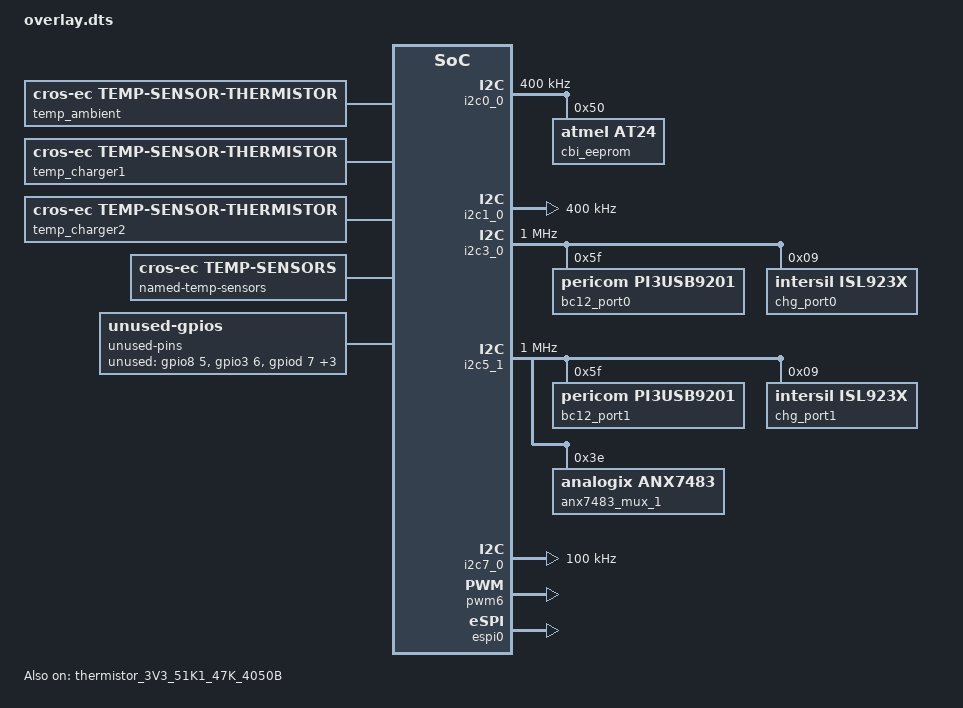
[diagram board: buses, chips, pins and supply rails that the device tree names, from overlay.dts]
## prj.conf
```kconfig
# Copyright 2022 The ChromiumOS Authors
# Use of this source code is governed by a BSD-style license that can be
# found in the LICENSE file.

CONFIG_BOARD_XIVU=y
CONFIG_PLATFORM_EC_OCPC=y
CONFIG_PLATFORM_EC_ACCELGYRO_LSM6DSO=y

# LED
CONFIG_PLATFORM_EC_LED_COMMON=n
CONFIG_PLATFORM_EC_LED_DT=y

# USBC
CONFIG_PLATFORM_EC_PD_MAX_POWER_MW=45000
```

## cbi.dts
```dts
/* Copyright 2022 The ChromiumOS Authors
 * Use of this source code is governed by a BSD-style license that can be
 * found in the LICENSE file.
 */

/ {
	/* Xivu-specific fw_config fields. */
	nissa-fw-config {
		/*
		 * FW_CONFIG field to enable WFC or not.
		 */
		 wfc {
			enum-name = "FW_WFC";
			start = <0>;
			size = <1>;

			wfc-mipi {
				compatible = "cros-ec,cbi-fw-config-value";
				enum-name = "FW_WFC_MIPI";
				value = <0>;
			};
			wfc-absent {
				compatible = "cros-ec,cbi-fw-config-value";
				enum-name = "FW_WFC_ABSENT";
				value = <1>;
			};
		 };

		/*
		 * FW_CONFIG field to enable stylus or not.
		 */
		 stylus {
			enum-name = "FW_STYLUS";
			start = <1>;
			size = <1>;

			stylus-present {
				compatible = "cros-ec,cbi-fw-config-value";
				enum-name = "FW_STYLUS_PRESENT";
				value = <0>;
			};
			stylus-absent {
				compatible = "cros-ec,cbi-fw-config-value";
				enum-name = "FW_STYLUS_ABSENT";
				value = <1>;
			};
		 };
		/*
		 * FW_CONFIG field to indicate which sub-board
		 * is attached.
		 */
		sub-board {
			enum-name = "FW_SUB_BOARD";
			start = <2>;
			size = <2>;

			sub-board-1 {
				compatible = "cros-ec,cbi-fw-config-value";
				enum-name = "FW_SUB_BOARD_1";
				value = <0>;
			};
			sub-board-2 {
				compatible = "cros-ec,cbi-fw-config-value";
				enum-name = "FW_SUB_BOARD_2";
				value = <1>;
			};
			sub-board-3 {
				compatible = "cros-ec,cbi-fw-config-value";
				enum-name = "FW_SUB_BOARD_3";
				value = <2>;
			};
		};

/delete-node/ fan;
	};

};
```

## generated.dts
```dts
/* Copyright 2022 The ChromiumOS Authors
 * Use of this source code is governed by a BSD-style license that can be
 * found in the LICENSE file.
 *
 * This file is auto-generated - do not edit!
 */

/ {

	named-adc-channels {
		compatible = "named-adc-channels";

		adc_ec_vsense_pp1050_proc: ec_vsense_pp1050_proc {
			enum-name = "ADC_PP1050_PROC";
			io-channels = <&adc0 4>;
		};
		adc_ec_vsense_pp3300_s5: ec_vsense_pp3300_s5 {
			enum-name = "ADC_PP3300_S5";
			io-channels = <&adc0 6>;
		};
		adc_temp_sensor_1: temp_sensor_1 {
			enum-name = "ADC_TEMP_SENSOR_1";
			io-channels = <&adc0 0>;
		};
		adc_temp_sensor_2: temp_sensor_2 {
			enum-name = "ADC_TEMP_SENSOR_2";
			io-channels = <&adc0 1>;
		};
		adc_temp_sensor_3: temp_sensor_3 {
			enum-name = "ADC_TEMP_SENSOR_3";
			io-channels = <&adc0 10>;
		};
		adc_temp_sensor_4: temp_sensor_4 {
			enum-name = "ADC_TEMP_SENSOR_4";
			io-channels = <&adc0 11>;
		};
	};

	named-gpios {
		compatible = "named-gpios";

		gpio_acc_int_l: acc_int_l {
			gpios = <&gpio5 0 GPIO_INPUT>;
		};
		gpio_all_sys_pwrgd: all_sys_pwrgd {
			gpios = <&gpioa 7 GPIO_INPUT>;
		};
		gpio_ccd_mode_odl: ccd_mode_odl {
			gpios = <&gpioe 5 GPIO_INPUT>;
			enum-name = "GPIO_CCD_MODE_ODL";
		};
		gpio_cpu_c10_gate_l: cpu_c10_gate_l {
			gpios = <&gpio6 7 GPIO_INPUT>;
		};
		gpio_ec_battery_pres_odl: ec_battery_pres_odl {
			gpios = <&gpioa 3 GPIO_INPUT>;
			enum-name = "GPIO_BATT_PRES_ODL";
		};
		gpio_ec_cbi_wp: ec_cbi_wp {
			gpios = <&gpio7 4 GPIO_OUTPUT>;
		};
		gpio_ec_edp_bl_en_od: ec_edp_bl_en_od {
			gpios = <&gpiod 3 GPIO_ODR_HIGH>;
			enum-name = "GPIO_ENABLE_BACKLIGHT";
		};
		gpio_ec_entering_rw: ec_entering_rw {
			gpios = <&gpio0 3 GPIO_OUTPUT>;
			enum-name = "GPIO_ENTERING_RW";
		};
		gpio_ec_gsc_packet_mode: ec_gsc_packet_mode {
			gpios = <&gpio7 5 GPIO_OUTPUT>;
			enum-name = "GPIO_PACKET_MODE_EN";
		};
		gpio_ec_kso_02_inv: ec_kso_02_inv {
			gpios = <&gpio1 7 (GPIO_OUTPUT | GPIO_ACTIVE_LOW)>;
		};
		gpio_ec_pch_wake_odl: ec_pch_wake_odl {
			gpios = <&gpiob 0 GPIO_ODR_LOW>;
		};
		gpio_ec_prochot_odl: ec_prochot_odl {
			gpios = <&gpiof 1 GPIO_ODR_HIGH>;
		};
		gpio_ec_soc_dsw_pwrok: ec_soc_dsw_pwrok {
			gpios = <&gpio6 1 GPIO_OUTPUT>;
		};
		gpio_ec_acok_otg_c1: ec_acok_otg_c1 {
			gpios = <&gpioe 4 GPIO_OUTPUT>;
		};
		gpio_ec_soc_int_odl: ec_soc_int_odl {
			gpios = <&gpio8 0 GPIO_ODR_HIGH>;
			enum-name = "GPIO_EC_INT_L";
		};
		gpio_ec_soc_pch_pwrok_od: ec_soc_pch_pwrok_od {
			gpios = <&gpio7 2 GPIO_ODR_HIGH>;
		};
		gpio_ec_soc_pwr_btn_odl: ec_soc_pwr_btn_odl {
			gpios = <&gpioc 1 GPIO_ODR_HIGH>;
			enum-name = "GPIO_PCH_PWRBTN_L";
		};
		gpio_ec_soc_rsmrst_l: ec_soc_rsmrst_l {
			gpios = <&gpioa 6 GPIO_OUTPUT>;
		};
		gpio_ec_soc_rtcrst: ec_soc_rtcrst {
			gpios = <&gpio7 6 GPIO_OUTPUT>;
		};
		gpio_ec_soc_sys_pwrok: ec_soc_sys_pwrok {
			gpios = <&gpio3 7 GPIO_OUTPUT>;
		};
		gpio_ec_soc_vccst_pwrgd_od: ec_soc_vccst_pwrgd_od {
			gpios = <&gpioa 4 GPIO_ODR_HIGH>;
		};
		gpio_ec_wp_odl: ec_wp_odl {
			gpios = <&gpioa 1 (GPIO_INPUT | GPIO_ACTIVE_LOW)>;
		};
		gpio_en_pp3300_s5: en_pp3300_s5 {
			gpios = <&gpiob 6 GPIO_OUTPUT>;
			enum-name = "GPIO_TEMP_SENSOR_POWER";
		};
		gpio_en_pp5000_pen_x: en_pp5000_pen_x {
			gpios = <&gpioe 2 GPIO_OUTPUT>;
		};
		gpio_en_pp5000_s5: en_pp5000_s5 {
			gpios = <&gpio4 0 GPIO_OUTPUT>;
		};
		gpio_en_slp_z: en_slp_z {
			gpios = <&gpioe 1 GPIO_OUTPUT>;
		};
		gpio_en_usb_a0_vbus: en_usb_a0_vbus {
			gpios = <&gpio9 1 GPIO_OUTPUT>;
		};
		gpio_gsc_ec_pwr_btn_odl: gsc_ec_pwr_btn_odl {
			gpios = <&gpio0 0 GPIO_INPUT_PULL_UP>;
			enum-name = "GPIO_POWER_BUTTON_L";
		};
		gpio_ec_acok_otg_c0: ec_acok_otg_c0 {
			gpios = <&gpioc 6 GPIO_OUTPUT>;
		};
		gpio_imu_int_l: imu_int_l {
			gpios = <&gpio5 6 GPIO_INPUT>;
		};
		gpio_imvp91_vrrdy_od: imvp91_vrrdy_od {
			gpios = <&gpio4 3 GPIO_INPUT>;
		};
		gpio_lid_open: lid_open {
			gpios = <&gpiod 2 GPIO_INPUT>;
			enum-name = "GPIO_LID_OPEN";
		};
		gpio_pen_detect_odl: pen_detect_odl {
			gpios = <&gpio9 6 GPIO_INPUT_PULL_UP>;
		};
		gpio_pg_pp1050_mem_s3_od: pg_pp1050_mem_s3_od {
			gpios = <&gpiof 0 GPIO_INPUT>;
		};
		gpio_pg_pp5000_s5_od: pg_pp5000_s5_od {
			gpios = <&gpio4 2 GPIO_INPUT>;
		};
		gpio_rsmrst_pwrgd_l: rsmrst_pwrgd_l {
			gpios = <&gpio9 4 GPIO_INPUT_PULL_UP>;
		};
		gpio_slp_s0_l: slp_s0_l {
			gpios = <&gpio9 7 GPIO_INPUT>;
		};
		gpio_slp_s3_l: slp_s3_l {
			gpios = <&gpioa 5 GPIO_INPUT>;
		};
		gpio_slp_s4_l: slp_s4_l {
			gpios = <&gpio7 0 GPIO_INPUT>;
		};
		gpio_slp_sus_l: slp_sus_l {
			gpios = <&gpio6 2 GPIO_INPUT>;
		};
		gpio_sub_usb_a1_ilimit_sdp: sub_usb_a1_ilimit_sdp {
			gpios = <&gpiod 5 GPIO_OUTPUT>;
			enum-name = "GPIO_USB2_ILIM_SEL";
		};
		gpio_sys_rst_odl: sys_rst_odl {
			gpios = <&gpioc 5 GPIO_ODR_HIGH>;
		};
		gpio_tablet_mode_l: tablet_mode_l {
			gpios = <&gpio9 5 GPIO_INPUT>;
			enum-name = "GPIO_TABLET_MODE_L";
		};
		gpio_usb_a0_ilimit_sdp: usb_a0_ilimit_sdp {
			gpios = <&gpio3 3 GPIO_OUTPUT>;
			enum-name = "GPIO_USB1_ILIM_SEL";
		};
		gpio_usb_c0_int_odl: usb_c0_int_odl {
			gpios = <&gpio0 1 GPIO_INPUT_PULL_UP>;
		};
		gpio_vccin_aux_vid0: vccin_aux_vid0 {
			gpios = <&gpio9 2 GPIO_INPUT>;
		};
		gpio_vccin_aux_vid1: vccin_aux_vid1 {
			gpios = <&gpioe 3 GPIO_INPUT>;
		};
		gpio_voldn_btn_odl: voldn_btn_odl {
			gpios = <&gpioa 2 GPIO_INPUT_PULL_UP>;
			enum-name = "GPIO_VOLUME_DOWN_L";
		};
		gpio_volup_btn_odl: volup_btn_odl {
			gpios = <&gpio9 3 GPIO_INPUT_PULL_UP>;
			enum-name = "GPIO_VOLUME_UP_L";
		};
	};

	named-i2c-ports {
		compatible = "named-i2c-ports";

		i2c_ec_i2c_eeprom: ec_i2c_eeprom {
			i2c-port = <&i2c0_0>;
			enum-names = "I2C_PORT_EEPROM";
		};
		i2c_ec_i2c_sensor: ec_i2c_sensor {
			i2c-port = <&i2c1_0>;
			enum-names = "I2C_PORT_SENSOR";
		};
		i2c_ec_i2c_usb_c0: ec_i2c_usb_c0 {
			i2c-port = <&i2c3_0>;
			enum-names = "I2C_PORT_USB_C0_TCPC";
		};
		i2c_ec_i2c_sub_usb_c1: ec_i2c_sub_usb_c1 {
			i2c-port = <&i2c5_1>;
			enum-names = "I2C_PORT_USB_C1_TCPC";
		};
		i2c_ec_i2c_batt: ec_i2c_batt {
			i2c-port = <&i2c7_0>;
			enum-names = "I2C_PORT_BATTERY";
		};
	};
};

&adc0 {
	status = "okay";
	pinctrl-0 = <&adc0_chan0_gp45
		     &adc0_chan1_gp44
		     &adc0_chan4_gp41
		     &adc0_chan6_gp34
		     &adc0_chan10_gpe0
		     &adc0_chan11_gpc7>;
	pinctrl-names = "default";
};

&i2c0_0 {
	status = "okay";
	pinctrl-0 = <&i2c0_0_sda_scl_gpb4_b5>;
	pinctrl-names = "default";
};

&i2c1_0 {
	status = "okay";
	pinctrl-0 = <&i2c1_0_sda_scl_gp87_90>;
	pinctrl-names = "default";
};

&i2c3_0 {
	status = "okay";
	pinctrl-0 = <&i2c3_0_sda_scl_gpd0_d1>;
	pinctrl-names = "default";
};

&i2c5_1 {
	status = "okay";
	pinctrl-0 = <&i2c5_1_sda_scl_gpf4_f5>;
	pinctrl-names = "default";
};

&i2c7_0 {
	status = "okay";
	pinctrl-0 = <&i2c7_0_sda_scl_gpb2_b3>;
	pinctrl-names = "default";
};

&i2c_ctrl0 {
	status = "okay";
};

&i2c_ctrl1 {
	status = "okay";
};

&i2c_ctrl3 {
	status = "okay";
};

&i2c_ctrl5 {
	status = "okay";
};

&i2c_ctrl7 {
	status = "okay";
};
```

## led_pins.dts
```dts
/* Copyright 2022 The ChromiumOS Authors
 * Use of this source code is governed by a BSD-style license that can be
 * found in the LICENSE file.
 */

/ {
	pwm_pins {
		compatible = "cros-ec,pwm-pin-config";
		pwm_led_y_c0: pwm_led_y_c0 {
			#led-pin-cells = <1>;
			pwms = <&pwm2 0 PWM_HZ(324) PWM_POLARITY_INVERTED>;
		};

		pwm_led_w_c0: pwm_led_w_c0 {
			#led-pin-cells = <1>;
			pwms = <&pwm0 0 PWM_HZ(324) PWM_POLARITY_INVERTED>;
		};

		pwm_led_y_c1: pwm_led_y_c1 {
			#led-pin-cells = <1>;
			pwms = <&pwm6 0 PWM_HZ(324) PWM_POLARITY_INVERTED>;
		};

		pwm_led_w_c1: pwm_led_w_c1 {
			#led-pin-cells = <1>;
			pwms = <&pwm1 0 PWM_HZ(324) PWM_POLARITY_INVERTED>;
		};
	};

	pwm-led-pins {
		compatible = "cros-ec,pwm-led-pins";

		color_off: color-off {
			led-color = "LED_OFF";
			led-id = "EC_LED_ID_BATTERY_LED";
			led-pins = <&pwm_led_y_c0 0>,
				   <&pwm_led_y_c1 0>,
				   <&pwm_led_w_c0 0>,
				   <&pwm_led_w_c1 0>;
		};

		color_amber: color-amber {
			led-color = "LED_AMBER";
			led-id = "EC_LED_ID_BATTERY_LED";
			br-color = "EC_LED_COLOR_AMBER";
			led-pins = <&pwm_led_y_c0 1>,
				   <&pwm_led_y_c1 1>,
				   <&pwm_led_w_c0 0>,
				   <&pwm_led_w_c1 0>;
		};

		color_white: color-white {
			led-color = "LED_WHITE";
			led-id = "EC_LED_ID_BATTERY_LED";
			br-color = "EC_LED_COLOR_WHITE";
			led-pins = <&pwm_led_y_c0 0>,
				   <&pwm_led_y_c1 0>,
				   <&pwm_led_w_c0 1>,
				   <&pwm_led_w_c1 1>;
		};
	};
};

/* LED2 */
&pwm0 {
	status = "okay";
	clock-bus = "NPCX_CLOCK_BUS_LFCLK";
	pinctrl-0 = <&pwm0_gpc3>;
	pinctrl-names = "default";
};

/* LED3 */
&pwm1 {
	status = "okay";
	clock-bus = "NPCX_CLOCK_BUS_LFCLK";
	pinctrl-0 = <&pwm1_gpc2>;
	pinctrl-names = "default";
};

/* LED1 */
&pwm2 {
	status = "okay";
	clock-bus = "NPCX_CLOCK_BUS_LFCLK";
	pinctrl-0 = <&pwm2_gpc4>;
	pinctrl-names = "default";
};

/* LED0 */
&pwm6 {
	status = "okay";
	clock-bus = "NPCX_CLOCK_BUS_LFCLK";
	pinctrl-0 = <&pwm6_gpc0>;
	pinctrl-names = "default";
};
```

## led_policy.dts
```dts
/ {
	led-colors {
		compatible = "cros-ec,led-policy";

		power-state-charge {
			charge-state = "PWR_STATE_CHARGE";
			/* Battery percent range (>= Empty, <= 94%) */
			batt-lvl = <0 94>;

			color-0 {
				led-color = <&color_amber>;
			};
		};

		power-state-near-full {
			charge-state = "PWR_STATE_CHARGE";
			/* Battery percent range (>= 95%, <= Full) */
			batt-lvl = <95 100>;

			color-0 {
				led-color = <&color_white>;
			};
		};

		power-state-discharge-s0 {
			charge-state = "PWR_STATE_DISCHARGE";
			chipset-state = "POWER_S0";
			/* Battery percent range (>= 11%, <= Full) */
			batt-lvl = <11 100>;

			color-0 {
				led-color = <&color_white>;
			};
		};

		power-state-discharge-s3 {
			charge-state = "PWR_STATE_DISCHARGE";
			chipset-state = "POWER_S3";

			/* White 1 sec, off 3 sec */
			color-0 {
				led-color = <&color_white>;
				period-ms = <1000>;
			};
			color-1 {
				led-color = <&color_off>;
				period-ms = <3000>;
			};
		};

		power-state-discharge-s5 {
			charge-state = "PWR_STATE_DISCHARGE";
			chipset-state = "POWER_S5";

			color-0 {
				led-color = <&color_off>;
			};
		};

		power-state-discharge-s0-batt-low {
			charge-state = "PWR_STATE_DISCHARGE";
			chipset-state = "POWER_S0";
			/* Battery percent range (>= Empty, <= 10%) */
			batt-lvl = <0 10>;

			/* Amber 1 sec, off 3 sec */
			color-0 {
				led-color = <&color_amber>;
				period-ms = <1000>;
			};
			color-1 {
				led-color = <&color_off>;
				period-ms = <3000>;
			};
		};

		power-state-error-s0 {
			charge-state = "PWR_STATE_ERROR";
			chipset-state = "POWER_S0";
			/* Amber 1 sec, off 1 sec */
			color-0 {
				led-color = <&color_amber>;
				period-ms = <1000>;
			};
			color-1 {
				led-color = <&color_off>;
				period-ms = <1000>;
			};
		};

		power-state-error-s3 {
			charge-state = "PWR_STATE_ERROR";
			chipset-state = "POWER_S3";
			/* White 1 sec, off 3 sec */
			color-0 {
				led-color = <&color_white>;
				period-ms = <1000>;
			};
			color-1 {
				led-color = <&color_off>;
				period-ms = <3000>;
			};
		};

		power-state-error-s5 {
			charge-state = "PWR_STATE_ERROR";
			chipset-state = "POWER_S5";

			color-0 {
				led-color = <&color_off>;
			};
		};
	};
};
```

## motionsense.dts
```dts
/* Copyright 2022 The ChromiumOS Authors
 * Use of this source code is governed by a BSD-style license that can be
 * found in the LICENSE file.
 */

#include <dt-bindings/motionsense/utils.h>


/ {
	aliases {
		/*
		 * Interrupt bindings for sensor devices.
		 */
		lsm6dso-int = &base_accel;
		lis2dw12-int = &lid_accel;
	};

	/*
	 * Declare mutexes used by sensor drivers.
	 * A mutex node is used to create an instance of mutex_t.
	 * A mutex node is referenced by a sensor node if the
	 * corresponding sensor driver needs to use the
	 * instance of the mutex.
	 */
	motionsense-mutex {
		compatible = "cros-ec,motionsense-mutex";
		lid_mutex: lid-mutex {
		};

		base_mutex: base-mutex {
		};
	};

	/* Rotation matrix used by drivers. */
	motionsense-rotation-ref {
		compatible = "cros-ec,motionsense-rotation-ref";
		lid_rot_ref: lid-rotation-ref {
			mat33 = <0 1 0
				 1 0 0
				 0 0 (-1)>;
		};

		base_rot_ref: base-rotation-ref {
			mat33 = <0 (-1) 0
				 1 0 0
				 0 0 1>;
		};
	};

	/*
	 * Driver specific data. A driver-specific data can be shared with
	 * different motion sensors while they are using the same driver.
	 *
	 * If a node's compatible starts with "cros-ec,accelgyro-", it is for
	 * a common structure defined in accelgyro.h.
	 * e.g) compatible = "cros-ec,accelgyro-als-drv-data" is for
	 * "struct als_drv_data_t" in accelgyro.h
	 */
	motionsense-sensor-data {
		lsm6dso_accel_data: lsm6dso-accel-drv-data {
			compatible = "cros-ec,drvdata-lsm6dso";
			status = "okay";
		};

		lsm6dso_gyro_data: lsm6dso-gyro-drv-data {
			compatible = "cros-ec,drvdata-lsm6dso";
			status = "okay";
		};

		lis2dw12_data: lis2dw12-drv-data {
			compatible = "cros-ec,drvdata-lis2dw12";
			status = "okay";
		};
	};

	/*
	 * List of motion sensors that creates motion_sensors array.
	 * The nodelabel "lid_accel" and "base_accel" are used to indicate
	 * motion sensor IDs for lid angle calculation.
	 * TODO(b/238139272): The first entries of the array must be
	 * accelerometers,then gyroscope. Fix this dependency in the DTS
	 * processing which makes the devicetree entries independent.
	 */
	motionsense-sensor {
		lid_accel: lid-accel {
			compatible = "cros-ec,lis2dw12";
			status = "okay";

			active-mask = "SENSOR_ACTIVE_S0_S3";
			location = "MOTIONSENSE_LOC_LID";
			mutex = <&lid_mutex>;
			port = <&i2c_ec_i2c_sensor>;
			rot-standard-ref = <&lid_rot_ref>;
			default-range = <2>;
			drv-data = <&lis2dw12_data>;
			i2c-spi-addr-flags = "LIS2DWL_ADDR0_FLAGS";
			configs {
				compatible =
					"cros-ec,motionsense-sensor-config";
				ec-s0 {
					odr = <(10000 | ROUND_UP_FLAG)>;
				};
				ec-s3 {
					odr = <(10000 | ROUND_UP_FLAG)>;
				};
			};
		};

		base_accel: base-accel {
			compatible = "cros-ec,lsm6dso-accel";
			status = "okay";

			active-mask = "SENSOR_ACTIVE_S0_S3";
			location = "MOTIONSENSE_LOC_BASE";
			mutex = <&base_mutex>;
			port = <&i2c_ec_i2c_sensor>;
			rot-standard-ref = <&base_rot_ref>;
			drv-data = <&lsm6dso_accel_data>;
			configs {
				compatible =
					"cros-ec,motionsense-sensor-config";
				ec-s0 {
					odr = <(10000 | ROUND_UP_FLAG)>;
				};
				ec-s3 {
					odr = <(10000 | ROUND_UP_FLAG)>;
				};
			};
		};

		base_gyro: base-gyro {
			compatible = "cros-ec,lsm6dso-gyro";
			status = "okay";

			active-mask = "SENSOR_ACTIVE_S0_S3";
			location = "MOTIONSENSE_LOC_BASE";
			mutex = <&base_mutex>;
			port = <&i2c_ec_i2c_sensor>;
			rot-standard-ref = <&base_rot_ref>;
			default-range = <(1000 | ROUND_UP_FLAG)>; /* dps */
			drv-data = <&lsm6dso_gyro_data>;
		};
	};

	motionsense-sensor-info {
		compatible = "cros-ec,motionsense-sensor-info";

		/*
		 * list of GPIO interrupts that have to
		 * be enabled at initial stage
		 */
		sensor-irqs = <&int_imu>;
		/* list of sensors in force mode */
		accel-force-mode-sensors = <&lid_accel>;
	};
};
```

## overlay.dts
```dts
/* Copyright 2022 The ChromiumOS Authors
 * Use of this source code is governed by a BSD-style license that can be
 * found in the LICENSE file.
 */

#include <cros/thermistor/thermistor.dtsi>

/ {
	aliases {
		gpio-cbi-wp = &gpio_ec_cbi_wp;
		gpio-wp = &gpio_ec_wp_odl;
		int-wp = &int_wp_l;
		gpio-kbd-kso2 = &gpio_ec_kso_02_inv;
	};

	ec-console {
		compatible = "ec-console";
		disabled = "events", "lpc", "hostcmd";
	};

	batteries {
		default_battery: smp_c31n2005 {
			compatible = "smp,c31n2005", "battery-smart";
		};
	};

	hibernate-wake-pins {
		compatible = "cros-ec,hibernate-wake-pins";
		wakeup-irqs = <
			&int_power_button
			&int_lid_open
		>;
	};

	gpio-interrupts {
		compatible = "cros-ec,gpio-interrupts";

		int_power_button: power_button {
			irq-pin = <&gpio_gsc_ec_pwr_btn_odl>;
			flags = <GPIO_INT_EDGE_BOTH>;
			handler = "power_button_interrupt";
		};
		int_wp_l: wp_l {
			irq-pin = <&gpio_ec_wp_odl>;
			flags = <GPIO_INT_EDGE_BOTH>;
			handler = "switch_interrupt";
		};
		int_lid_open: lid_open {
			irq-pin = <&gpio_lid_open>;
			flags = <GPIO_INT_EDGE_BOTH>;
			handler = "lid_interrupt";
		};
		int_tablet_mode: tablet_mode {
			irq-pin = <&gpio_tablet_mode_l>;
			flags = <GPIO_INT_EDGE_BOTH>;
			handler = "gmr_tablet_switch_isr";
		};
		int_imu: ec_imu {
			irq-pin = <&gpio_imu_int_l>;
			flags = <GPIO_INT_EDGE_FALLING>;
			handler = "lsm6dso_interrupt";
		};
		int_vol_down: vol_down {
			irq-pin = <&gpio_voldn_btn_odl>;
			flags = <GPIO_INT_EDGE_BOTH>;
			handler = "button_interrupt";
		};
		int_vol_up: vol_up {
			irq-pin = <&gpio_volup_btn_odl>;
			flags = <GPIO_INT_EDGE_BOTH>;
			handler = "button_interrupt";
		};
		int_usb_c0: usb_c0 {
			irq-pin = <&gpio_usb_c0_int_odl>;
			flags = <GPIO_INT_EDGE_FALLING>;
			handler = "usb_interrupt";
		};
		int_usb_c1: usb_c1 {
			irq-pin = <&gpio_sb_1>;
			flags = <GPIO_INT_EDGE_FALLING>;
			handler = "usb_interrupt";
		};
	};

	named-gpios {
		gpio_sb_1: sb-1 {
			gpios = <&gpio0 2 GPIO_PULL_UP>;
			no-auto-init;
		};

		gpio_sb_2: sb-2 {
			gpios = <&gpiod 4 GPIO_OUTPUT>;
			no-auto-init;
		};

		/*
		 * Set I2C pins for type C sub-board to be low voltage (I2C5_1).
		 * We do this for all boards, since the pins are 3.3V tolerant,
		 * and the only 2 types of sub-boards used on nivviks both have
		 * type-C ports on them.
		 */
		gpio_sb_3: sb-3 {
			gpios = <&gpiof 4 (GPIO_OPEN_DRAIN | GPIO_VOLTAGE_1P8)>;
			no-auto-init;
		};
		gpio_sb_4: sb-4 {
			gpios = <&gpiof 5 (GPIO_INPUT | GPIO_VOLTAGE_1P8)>;
			no-auto-init;
		};
	};

	/*
	 * Aliases used for sub-board GPIOs.
	 */
	aliases {
		/*
		 * Input GPIO when used with type-C port 1
		 */
		gpio-usb-c1-int-odl = &gpio_sb_1;
		gpio-en-rails-odl = &gpio_sb_1;
		/*
		 * Sub-board with type A USB, enable.
		 */
		gpio-en-usb-a1-vbus = &gpio_sb_2;
		/*
		 * Enable S5 rails for LTE sub-board
		 */
		gpio-en-sub-s5-rails = &gpio_sb_2;
	};

	temp_memory: memory {
		compatible = "cros-ec,temp-sensor-thermistor";
		thermistor = <&thermistor_3V3_51K1_47K_4050B>;
		adc = <&adc_temp_sensor_1>;
	};
	temp_ambient: ambient {
		compatible = "cros-ec,temp-sensor-thermistor";
		thermistor = <&thermistor_3V3_51K1_47K_4050B>;
		adc = <&adc_temp_sensor_2>;
	};
	temp_charger1: charger1 {
		compatible = "cros-ec,temp-sensor-thermistor";
		thermistor = <&thermistor_3V3_51K1_47K_4050B>;
		adc = <&adc_temp_sensor_3>;
	};
	temp_charger2: charger2 {
		compatible = "cros-ec,temp-sensor-thermistor";
		thermistor = <&thermistor_3V3_51K1_47K_4050B>;
		adc = <&adc_temp_sensor_4>;
	};

	named-temp-sensors {
		compatible = "cros-ec,temp-sensors";
		memory {
			temp_host_high = <85>;
			temp_host_halt = <90>;
			temp_host_release_high = <80>;
			temp_host_release_halt = <80>;
			power-good-pin = <&gpio_ec_soc_dsw_pwrok>;
			sensor = <&temp_memory>;
		};
		ambient {
			temp_host_high = <85>;
			temp_host_halt = <90>;
			temp_host_release_high = <80>;
			temp_host_release_halt = <80>;
			power-good-pin = <&gpio_ec_soc_dsw_pwrok>;
			sensor = <&temp_ambient>;
		};
		charger1 {
			temp_host_high = <85>;
			temp_host_halt = <90>;
			temp_host_release_high = <80>;
			temp_host_release_halt = <80>;
			power-good-pin = <&gpio_ec_soc_dsw_pwrok>;
			sensor = <&temp_charger1>;
		};
		charger2 {
			temp_host_high = <85>;
			temp_host_halt = <90>;
			temp_host_release_high = <80>;
			temp_host_release_halt = <80>;
			power-good-pin = <&gpio_ec_soc_dsw_pwrok>;
			sensor = <&temp_charger2>;
		};
	};

	usba {
		compatible = "cros-ec,usba-port-enable-pins";
		/*
		 * sb_2 is only configured as GPIO when USB-A1 is present,
		 * but it's still safe to control when disabled.
		 *
		 * ILIM_SEL pins are referred to by legacy enum name,
		 * GPIO_USB*_ILIM_SEL. The one for port A1 is unused on
		 * sub-boards that don't have USB-A so is safe to control
		 * regardless of system configuration.
		 */
		enable-pins = <&gpio_en_usb_a0_vbus &gpio_sb_2>;
		status = "okay";
	};

	usbc {
		#address-cells = <1>;
		#size-cells = <0>;

		port0@0 {
			compatible = "named-usbc-port";
			reg = <0>;
			bc12 = <&bc12_port0>;
			chg = <&chg_port0>;
			usb-mux-chain-0 {
				compatible = "cros-ec,usb-mux-chain";
				usb-muxes = <&virtual_mux_0>;
			};
		};
		port0-muxes {
			virtual_mux_0: virtual-mux-0 {
				compatible = "cros-ec,usbc-mux-virtual";
			};
		};
		/*
		 * TODO(b:211693800): port1 may not be present on some
		 * sub-boards.
		 */
		port1@1 {
			compatible = "named-usbc-port";
			reg = <1>;
			bc12 = <&bc12_port1>;
			chg = <&chg_port1>;
			usb-mux-chain-1 {
				compatible = "cros-ec,usb-mux-chain";
				usb-muxes = <&virtual_mux_1 &anx7483_mux_1>;
			};
			usb_mux_chain_1_no_mux: usb-mux-chain-1-no-mux {
				compatible = "cros-ec,usb-mux-chain";
				alternative-chain;
				usb-muxes = <&virtual_mux_1>;
			};
		};
		port1-muxes {
			virtual_mux_1: virtual-mux-1 {
				compatible = "cros-ec,usbc-mux-virtual";
			};
		};
	};

	unused-pins {
		compatible = "unused-gpios";
		unused-gpios =
			<&gpio8 5 0>,
			<&gpio3 6 0>,
			<&gpiod 7 0>,
			<&gpio6 0 0>,
			<&gpiof 2 0>,
			<&gpiof 3 0>;
	 };
};

&thermistor_3V3_51K1_47K_4050B {
	status = "okay";
};

&adc_ec_vsense_pp3300_s5 {
	/*
	 * Voltage divider on input has 47k upper and 220k lower legs with
	 * 2714 mV full-scale reading on the ADC. Apply the largest possible
	 * multiplier (without overflowing int32) to get the best possible
	 * approximation of the actual ratio, but derate by a factor of two to
	 * ensure unexpectedly high values won't overflow.
	 */
	mul = <(791261 / 2)>;
	div = <(651975 / 2)>;
};

/* Set bus speeds for I2C */
&i2c0_0 {
	label = "I2C_EEPROM";
	clock-frequency = <I2C_BITRATE_FAST>;

	cbi_eeprom: eeprom@50 {
		compatible = "atmel,at24";
		reg = <0x50>;
		size = <2048>;
		pagesize = <16>;
		address-width = <8>;
		timeout = <5>;
	};
};

&i2c1_0 {
	label = "I2C_SENSOR";
	clock-frequency = <I2C_BITRATE_FAST>;
};

&i2c3_0 {
	label = "I2C_USB_C0_TCPC";
	clock-frequency = <I2C_BITRATE_FAST_PLUS>;

	bc12_port0: pi3usb9201@5f {
		compatible = "pericom,pi3usb9201";
		status = "okay";
		reg = <0x5f>;
		/*
		 * BC1.2 interrupt is shared with TCPC, so
		 * IRQ is not specified here and handled by
		 * usb_c0_interrupt.
		 */
	};

	chg_port0: isl923x@9 {
		compatible = "intersil,isl923x";
		status = "okay";
		reg = <0x9>;
	};
};

&i2c5_1 {
	label = "I2C_SUB_C1_TCPC";
	clock-frequency = <I2C_BITRATE_FAST_PLUS>;

	bc12_port1: pi3usb9201@5f {
		compatible = "pericom,pi3usb9201";
		status = "okay";
		reg = <0x5f>;
	};

	chg_port1: isl923x@9 {
		compatible = "intersil,isl923x";
		status = "okay";
		reg = <0x9>;
	};

	anx7483_mux_1: anx7483-mux-1@3e {
		compatible = "analogix,anx7483";
		reg = <0x3e>;
		board-set = "anx7483_set_default_tuning";
	};
};

&i2c7_0 {
	label = "I2C_BATTERY";
	clock-frequency = <I2C_BITRATE_STANDARD>;
};

&pwm6 {
	status = "okay";
	pinctrl-0 = <&pwm6_gpc0>;
	pinctrl-names = "default";
};

/* host interface */
&espi0 {
	status = "okay";
	pinctrl-0 = <&espi_lpc_gp46_47_51_52_53_54_55_57>;
	pinctrl-names = "default";
};
```

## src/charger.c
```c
/* Copyright 2022 The ChromiumOS Authors
 * Use of this source code is governed by a BSD-style license that can be
 * found in the LICENSE file.
 */

#include <zephyr/logging/log.h>

#include "battery.h"
#include "charger.h"
#include "charger/isl923x_public.h"
#include "console.h"
#include "extpower.h"
#include "usb_pd.h"
#include "nissa_common.h"

LOG_MODULE_DECLARE(nissa, CONFIG_NISSA_LOG_LEVEL);

int extpower_is_present(void)
{
	int port;
	int rv;
	bool acok;

	for (port = 0; port < board_get_usb_pd_port_count(); port++) {
		rv = raa489000_is_acok(port, &acok);
		if ((rv == EC_SUCCESS) && acok)
			return 1;
	}

	return 0;
}

/*
 * Xivu does not have a GPIO indicating whether extpower is present,
 * so detect using the charger(s).
 */
__override void board_check_extpower(void)
{
	static int last_extpower_present;
	int extpower_present_p0 = 0;
	int extpower_present_p1 = 0;

	int extpower_present = extpower_is_present();

	if (last_extpower_present ^ extpower_present)
		extpower_handle_update(extpower_present);

	last_extpower_present = extpower_present;

	if (pd_is_connected(0))
		extpower_present_p0 = extpower_is_present();
	else if (pd_is_connected(1))
		extpower_present_p1 = extpower_is_present();

	gpio_pin_set_dt(GPIO_DT_FROM_NODELABEL(gpio_ec_acok_otg_c0),
			extpower_present_p0);
	gpio_pin_set_dt(GPIO_DT_FROM_NODELABEL(gpio_ec_acok_otg_c1),
			extpower_present_p1);
}

__override void board_hibernate(void)
{
	/* Shut down the chargers */
	if (board_get_usb_pd_port_count() == 2)
		raa489000_hibernate(CHARGER_SECONDARY, true);
	raa489000_hibernate(CHARGER_PRIMARY, true);
	LOG_INF("Charger(s) hibernated");
	cflush();
}
```

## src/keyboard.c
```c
/* Copyright 2022 The ChromiumOS Authors
 * Use of this source code is governed by a BSD-style license that can be
 * found in the LICENSE file.
 */

#include "ec_commands.h"

static const struct ec_response_keybd_config xivu_kb_legacy = {
	.num_top_row_keys = 10,
	.action_keys = {
		TK_BACK,		/* T1 */
		TK_REFRESH,		/* T2 */
		TK_FULLSCREEN,		/* T3 */
		TK_OVERVIEW,		/* T4 */
		TK_SNAPSHOT,		/* T5 */
		TK_BRIGHTNESS_DOWN,	/* T6 */
		TK_BRIGHTNESS_UP,	/* T7 */
		TK_VOL_MUTE,		/* 8 */
		TK_VOL_DOWN,		/* T9 */
		TK_VOL_UP,		/* T10 */
	},
	.capabilities = KEYBD_CAP_SCRNLOCK_KEY,
};

__override const struct ec_response_keybd_config *
board_vivaldi_keybd_config(void)
{
	return &xivu_kb_legacy;
}
```

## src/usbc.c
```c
/* Copyright 2022 The ChromiumOS Authors
 * Use of this source code is governed by a BSD-style license that can be
 * found in the LICENSE file.
 */

#include <zephyr/logging/log.h>

#include "charge_state_v2.h"
#include "chipset.h"
#include "hooks.h"
#include "usb_mux.h"
#include "system.h"
#include "driver/charger/isl923x_public.h"
#include "driver/retimer/anx7483_public.h"
#include "driver/tcpm/tcpci.h"
#include "driver/tcpm/raa489000.h"
#include "temp_sensor/temp_sensor.h"
#include "nissa_common.h"

LOG_MODULE_DECLARE(nissa, CONFIG_NISSA_LOG_LEVEL);

struct tcpc_config_t tcpc_config[CONFIG_USB_PD_PORT_MAX_COUNT] = {
	{
		.bus_type = EC_BUS_TYPE_I2C,
		.i2c_info = {
			.port = I2C_PORT_USB_C0_TCPC,
			.addr_flags = RAA489000_TCPC0_I2C_FLAGS,
		},
		.drv = &raa489000_tcpm_drv,
		/* RAA489000 implements TCPCI 2.0 */
		.flags = TCPC_FLAGS_TCPCI_REV2_0 |
			TCPC_FLAGS_VBUS_MONITOR,
	},
	{ /* sub-board */
		.bus_type = EC_BUS_TYPE_I2C,
		.i2c_info = {
			.port = I2C_PORT_USB_C1_TCPC,
			.addr_flags = RAA489000_TCPC0_I2C_FLAGS,
		},
		.drv = &raa489000_tcpm_drv,
		/* RAA489000 implements TCPCI 2.0 */
		.flags = TCPC_FLAGS_TCPCI_REV2_0 |
			TCPC_FLAGS_VBUS_MONITOR,
	},
};

int board_is_sourcing_vbus(int port)
{
	int regval;

	tcpc_read(port, TCPC_REG_POWER_STATUS, &regval);
	return !!(regval & TCPC_REG_POWER_STATUS_SOURCING_VBUS);
}

int board_set_active_charge_port(int port)
{
	int is_real_port = (port >= 0 && port < CONFIG_USB_PD_PORT_MAX_COUNT);
	int i;
	int old_port;

	if (!is_real_port && port != CHARGE_PORT_NONE)
		return EC_ERROR_INVAL;

	old_port = charge_manager_get_active_charge_port();

	LOG_INF("New chg p%d", port);

	/* Disable all ports. */
	if (port == CHARGE_PORT_NONE) {
		for (i = 0; i < CONFIG_USB_PD_PORT_MAX_COUNT; i++) {
			tcpc_write(i, TCPC_REG_COMMAND,
				   TCPC_REG_COMMAND_SNK_CTRL_LOW);
			raa489000_enable_asgate(i, false);
		}

		return EC_SUCCESS;
	}

	/* Check if port is sourcing VBUS. */
	if (board_is_sourcing_vbus(port)) {
		LOG_WRN("Skip enable p%d", port);
		return EC_ERROR_INVAL;
	}

	/*
	 * Turn off the other ports' sink path FETs, before enabling the
	 * requested charge port.
	 */
	for (i = 0; i < CONFIG_USB_PD_PORT_MAX_COUNT; i++) {
		if (i == port)
			continue;

		if (tcpc_write(i, TCPC_REG_COMMAND,
			       TCPC_REG_COMMAND_SNK_CTRL_LOW))
			LOG_WRN("p%d: sink path disable failed.", i);
		raa489000_enable_asgate(i, false);
	}

	/*
	 * Stop the charger IC from switching while changing ports.  Otherwise,
	 * we can overcurrent the adapter we're switching to. (crbug.com/926056)
	 */
	if (old_port != CHARGE_PORT_NONE)
		charger_discharge_on_ac(1);

	/* Enable requested charge port. */
	if (raa489000_enable_asgate(port, true) ||
	    tcpc_write(port, TCPC_REG_COMMAND,
		       TCPC_REG_COMMAND_SNK_CTRL_HIGH)) {
		LOG_WRN("p%d: sink path enable failed.", port);
		charger_discharge_on_ac(0);
		return EC_ERROR_UNKNOWN;
	}

	/* Allow the charger IC to begin/continue switching. */
	charger_discharge_on_ac(0);

	return EC_SUCCESS;
}

uint16_t tcpc_get_alert_status(void)
{
	uint16_t status = 0;
	int regval;

	/*
	 * The interrupt line is shared between the TCPC and BC1.2 detector IC.
	 * Therefore, go out and actually read the alert registers to report the
	 * alert status.
	 */
	if (!gpio_pin_get_dt(GPIO_DT_FROM_NODELABEL(gpio_usb_c0_int_odl))) {
		if (!tcpc_read16(0, TCPC_REG_ALERT, &regval)) {
			/* The TCPCI Rev 1.0 spec says to ignore bits 14:12. */
			if (!(tcpc_config[0].flags & TCPC_FLAGS_TCPCI_REV2_0))
				regval &= ~((1 << 14) | (1 << 13) | (1 << 12));

			if (regval)
				status |= PD_STATUS_TCPC_ALERT_0;
		}
	}

	if (board_get_usb_pd_port_count() == 2 &&
	    !gpio_pin_get_dt(GPIO_DT_FROM_ALIAS(gpio_usb_c1_int_odl))) {
		if (!tcpc_read16(1, TCPC_REG_ALERT, &regval)) {
			/* TCPCI spec Rev 1.0 says to ignore bits 14:12. */
			if (!(tcpc_config[1].flags & TCPC_FLAGS_TCPCI_REV2_0))
				regval &= ~((1 << 14) | (1 << 13) | (1 << 12));

			if (regval)
				status |= PD_STATUS_TCPC_ALERT_1;
		}
	}

	return status;
}

void pd_power_supply_reset(int port)
{
	/* Disable VBUS */
	tcpc_write(port, TCPC_REG_COMMAND, TCPC_REG_COMMAND_SRC_CTRL_LOW);

	/* Notify host of power info change. */
	pd_send_host_event(PD_EVENT_POWER_CHANGE);
}

__override void typec_set_source_current_limit(int port, enum tcpc_rp_value rp)
{
	if (port < 0 || port >= CONFIG_USB_PD_PORT_MAX_COUNT)
		return;

	raa489000_set_output_current(port, rp);
}

int pd_set_power_supply_ready(int port)
{
	int rv;

	if (port >= CONFIG_USB_PD_PORT_MAX_COUNT)
		return EC_ERROR_INVAL;

	/* Disable charging. */
	rv = tcpc_write(port, TCPC_REG_COMMAND, TCPC_REG_COMMAND_SNK_CTRL_LOW);
	if (rv)
		return rv;

	/* Our policy is not to source VBUS when the AP is off. */
	if (chipset_in_state(CHIPSET_STATE_ANY_OFF))
		return EC_ERROR_NOT_POWERED;

	/* Provide Vbus. */
	rv = tcpc_write(port, TCPC_REG_COMMAND, TCPC_REG_COMMAND_SRC_CTRL_HIGH);
	if (rv)
		return rv;

	rv = raa489000_enable_asgate(port, true);
	if (rv)
		return rv;

	/* Notify host of power info change. */
	pd_send_host_event(PD_EVENT_POWER_CHANGE);

	return EC_SUCCESS;
}

void board_reset_pd_mcu(void)
{
	/*
	 * TODO(b:147316511): could send a reset command to the TCPC here
	 * if needed.
	 */
}

/*
 * Because the TCPCs and BC1.2 chips share interrupt lines, it's possible
 * for an interrupt to be lost if one asserts the IRQ, the other does the same
 * then the first releases it: there will only be one falling edge to trigger
 * the interrupt, and the line will be held low. We handle this by running a
 * deferred check after a falling edge to see whether the IRQ is still being
 * asserted. If it is, we assume an interrupt may have been lost and we need
 * to poll each chip for events again.
 */
#define USBC_INT_POLL_DELAY_US 5000

static void poll_c0_int(void);
DECLARE_DEFERRED(poll_c0_int);
static void poll_c1_int(void);
DECLARE_DEFERRED(poll_c1_int);

static void usbc_interrupt_trigger(int port)
{
	schedule_deferred_pd_interrupt(port);
	usb_charger_task_set_event(port, USB_CHG_EVENT_BC12);
}

static inline void poll_usb_gpio(int port, const struct gpio_dt_spec *gpio,
				 const struct deferred_data *ud)
{
	if (!gpio_pin_get_dt(gpio)) {
		usbc_interrupt_trigger(port);
		hook_call_deferred(ud, USBC_INT_POLL_DELAY_US);
	}
}

static void poll_c0_int(void)
{
	poll_usb_gpio(0, GPIO_DT_FROM_NODELABEL(gpio_usb_c0_int_odl),
		      &poll_c0_int_data);
}

static void poll_c1_int(void)
{
	poll_usb_gpio(1, GPIO_DT_FROM_ALIAS(gpio_usb_c1_int_odl),
		      &poll_c1_int_data);
}

void usb_interrupt(enum gpio_signal signal)
{
	int port;
	const struct deferred_data *ud;

	if (signal == GPIO_SIGNAL(DT_NODELABEL(gpio_usb_c0_int_odl))) {
		port = 0;
		ud = &poll_c0_int_data;
	} else {
		port = 1;
		ud = &poll_c1_int_data;
	}
	/*
	 * We've just been called from a falling edge, so there's definitely
	 * no lost IRQ right now. Cancel any pending check.
	 */
	hook_call_deferred(ud, -1);
	/* Trigger polling of TCPC and BC1.2 in respective tasks */
	usbc_interrupt_trigger(port);
	/* Check for lost interrupts in a bit */
	hook_call_deferred(ud, USBC_INT_POLL_DELAY_US);
}

__override void board_set_charge_limit(int port, int supplier, int charge_ma,
				       int max_ma, int charge_mv)
{
	charge_ma = (charge_ma * 90) / 100;
	charge_set_input_current_limit(
		MAX(charge_ma, CONFIG_CHARGER_INPUT_CURRENT), charge_mv);
}

struct chg_curr_step {
	int on;
	int off;
	int curr_ma;
};

static const struct chg_curr_step chg_curr_table[] = {
	{ .on = 0, .off = 36, .curr_ma = 2800 },
	{ .on = 46, .off = 36, .curr_ma = 1500 },
	{ .on = 48, .off = 38, .curr_ma = 1000 },
};

/* All charge current tables must have the same number of levels */
#define NUM_CHG_CURRENT_LEVELS ARRAY_SIZE(chg_curr_table)

int charger_profile_override(struct charge_state_data *curr)
{
	int rv;
	int chg_temp_c;
	int current;
	int thermal_sensor0;
	static int current_level;
	static int prev_tmp;

	/*
	 * Precharge must be executed when communication is failed on
	 * dead battery.
	 */
	if (!(curr->batt.flags & BATT_FLAG_RESPONSIVE))
		return 0;

	current = curr->requested_current;

	rv = temp_sensor_read(
		TEMP_SENSOR_ID_BY_DEV(DT_NODELABEL(temp_charger1)),
		&thermal_sensor0);
	chg_temp_c = K_TO_C(thermal_sensor0);

	if (rv != EC_SUCCESS)
		return 0;

	if (chipset_in_state(CHIPSET_STATE_ON)) {
		if (chg_temp_c < prev_tmp) {
			if (chg_temp_c <= chg_curr_table[current_level].off)
				current_level = current_level - 1;
		} else if (chg_temp_c > prev_tmp) {
			if (chg_temp_c >= chg_curr_table[current_level + 1].on)
				current_level = current_level + 1;
		}
		/*
		 * Prevent level always minus 0 or over table steps.
		 */
		if (current_level < 0)
			current_level = 0;
		else if (current_level >= NUM_CHG_CURRENT_LEVELS)
			current_level = NUM_CHG_CURRENT_LEVELS - 1;

		prev_tmp = chg_temp_c;
		current = chg_curr_table[current_level].curr_ma;

		curr->requested_current = MIN(curr->requested_current, current);
	}
	return 0;
}

enum ec_status charger_profile_override_get_param(uint32_t param,
						  uint32_t *value)
{
	return EC_RES_INVALID_PARAM;
}

enum ec_status charger_profile_override_set_param(uint32_t param,
						  uint32_t value)
{
	return EC_RES_INVALID_PARAM;
}
```
